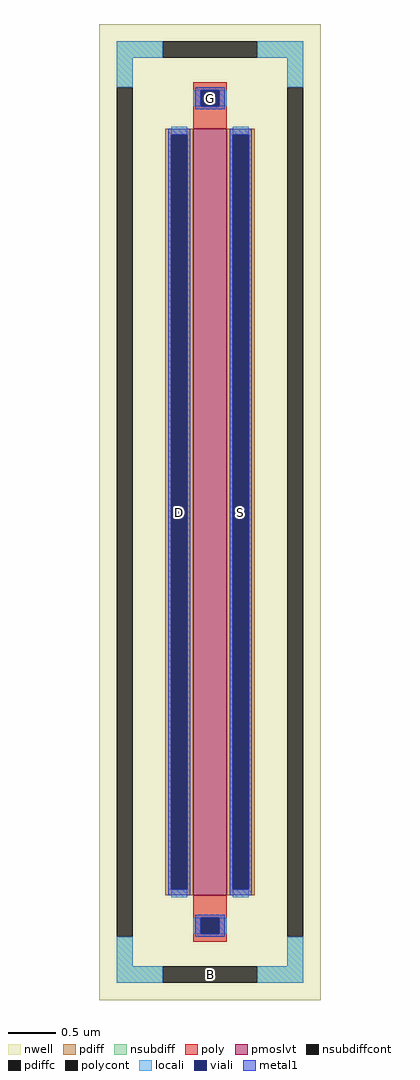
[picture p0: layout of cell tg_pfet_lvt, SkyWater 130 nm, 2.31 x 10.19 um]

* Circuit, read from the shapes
.subckt tg_pfet_lvt B D S G
XM1 S G D B sky130_fd_pr__pfet_01v8_lvt w=8 l=0.35
.ends

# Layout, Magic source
magic
tech sky130A
magscale 1 2
<< nwell >>
rect -231 -1019 231 1019
<< pmoslvt >>
rect -35 -800 35 800
<< pdiff >>
rect -93 788 -35 800
rect -93 -788 -81 788
rect -47 -788 -35 788
rect -93 -800 -35 -788
rect 35 788 93 800
rect 35 -788 47 788
rect 81 -788 93 788
rect 35 -800 93 -788
<< pdiffc >>
rect -81 -788 -47 788
rect 47 -788 81 788
<< nsubdiff >>
rect -195 949 -99 983
rect 99 949 195 983
rect -195 887 -161 949
rect 161 887 195 949
rect -195 -949 -161 -887
rect 161 -949 195 -887
rect -195 -983 -99 -949
rect 99 -983 195 -949
<< nsubdiffcont >>
rect -99 949 99 983
rect -195 -887 -161 887
rect 161 -887 195 887
rect -99 -983 99 -949
<< poly >>
rect -35 881 35 897
rect -35 847 -19 881
rect 19 847 35 881
rect -35 800 35 847
rect -35 -847 35 -800
rect -35 -881 -19 -847
rect 19 -881 35 -847
rect -35 -897 35 -881
<< polycont >>
rect -19 847 19 881
rect -19 -881 19 -847
<< locali >>
rect -195 949 -99 983
rect 99 949 195 983
rect -195 887 -161 949
rect 161 887 195 949
rect -35 847 -19 881
rect 19 847 35 881
rect -81 788 -47 804
rect -81 -804 -47 -788
rect 47 788 81 804
rect 47 -804 81 -788
rect -35 -881 -19 -847
rect 19 -881 35 -847
rect -195 -949 -161 -887
rect 161 -949 195 -887
rect -195 -983 -99 -949
rect 99 -983 195 -949
<< viali >>
rect -19 847 19 881
rect -81 -788 -47 788
rect 47 -788 81 788
rect -19 -881 19 -847
<< metal1 >>
rect -31 881 31 887
rect -31 847 -19 881
rect 19 847 31 881
rect -31 841 31 847
rect -87 788 -41 800
rect -87 -788 -81 788
rect -47 -788 -41 788
rect -87 -800 -41 -788
rect 41 788 87 800
rect 41 -788 47 788
rect 81 -788 87 788
rect 41 -800 87 -788
rect -31 -847 31 -841
rect -31 -881 -19 -847
rect 19 -881 31 -847
rect -31 -887 31 -881
<< labels >>
rlabel nsubdiffcont 0 -966 0 -966 0 B
port 1 nsew
rlabel pdiffc -64 0 -64 0 0 D
port 2 nsew
rlabel pdiffc 64 0 64 0 0 S
port 3 nsew
rlabel polycont 0 864 0 864 0 G
port 4 nsew
<< properties >>
string FIXED_BBOX -178 -966 178 966
<< end >>
